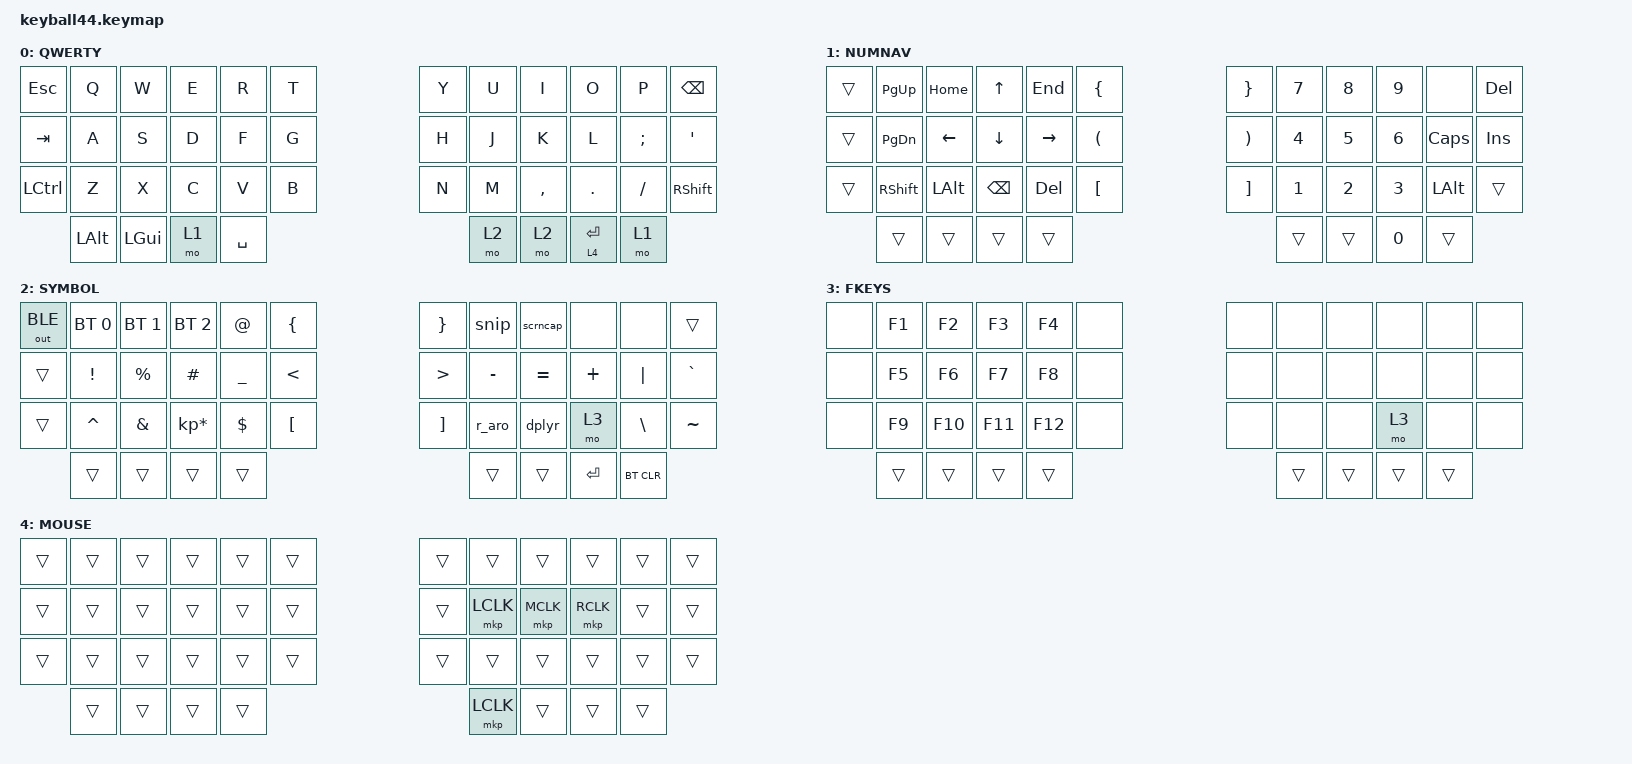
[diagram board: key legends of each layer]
#define DEFAULT 0
#define NUMNAV  1
#define SYMBOL  2
#define FKEYS   3
#define MOUSE   4
//#define SCROLL  5
//#define SNIPE   6

#include <behaviors/mouse_keys.dtsi>
#include <behaviors.dtsi>
#include <dt-bindings/zmk/bt.h>
#include <dt-bindings/zmk/keys.h>
#include <dt-bindings/zmk/mouse.h>
#include <dt-bindings/zmk/outputs.h>

/ {
// R assignment arrow  "<-"
    macros {
        r_aro: r_aro {
            label = "ZM_r_aro";
            compatible = "zmk,behavior-macro";
            #binding-cells = <0>;
            bindings 
                = <&macro_tap &kp LT &kp KP_MINUS> 
                ; 
        };
    };
};

/ {
// R dplyr pipe  "%>%"
    macros {
        dplyr: dplyr {
            label = "ZM_dplyr";
            compatible = "zmk,behavior-macro";
            #binding-cells = <0>;
            bindings 
                = <&macro_tap &kp PRCNT>
                , <&macro_tap &kp GT>
                , <&macro_tap &kp PRCNT> 
                ; 
        };
    };
};

/ {
// Mac snipping tool 
    macros {
        snip: snip {
            label = "ZM_snip";
            compatible = "zmk,behavior-macro";
            #binding-cells = <0>;
            bindings 
                = <&macro_press &kp LGUI &kp LCTRL &kp LSHIFT>
                , <&macro_tap &kp N4>
                , <&macro_release &kp LGUI &kp LCTRL &kp LSHIFT>
                ; 
        };
    };
};

/ {
// Mac whole screencap toolbar
    macros {
        scrncap: scrncap {
            label = "ZM_scrncap";
            compatible = "zmk,behavior-macro";
            #binding-cells = <0>;
            bindings 
                = <&macro_press &kp LGUI &kp LSHIFT>
                , <&macro_tap &kp N5>
                , <&macro_release &kp LGUI &kp LSHIFT>
                ; 
        };
    };
};

// safety guard for combo that clears bluetooth? [WIP]

&lt {
    tapping-term-ms = <180>;
    flavor = "balanced";
    quick-tap-ms = <120>;
};

&mt {
    tapping-term-ms = <200>;
    flavor = "tap-preferred";
    quick-tap-ms = <150>;
};

//&caps_word { continue-list = <UNDERSCORE MINUS>; };

/ {
    // custom shift using mod-morph 

    //behaviors {
    //    cmqus: comma_question {
    //        compatible = "zmk,behavior-mod-morph";
    //        label = "COMMA_QUESTION";
    //        #binding-cells = <0>;
    //        bindings = <&kp COMMA>, <&kp QUESTION>;

    //        mods = <(MOD_LSFT|MOD_RSFT)>;
    //    };

    //    dtsmi: dot_semi {
    //        compatible = "zmk,behavior-mod-morph";
    //        label = "DOT_SEMI";
    //        #binding-cells = <0>;
    //        bindings = <&kp DOT>, <&kp SEMI>;

    //        mods = <(MOD_LSFT|MOD_RSFT)>;
    //    };
    //};

    keymap {
        compatible = "zmk,keymap";

        default_layer {
                // --------------------------------------------------                         --------------------------------------------------
                // |   ESC  |   Q   |   W   |   E   |   R   |   T   |                         |   Y   |   U   |   I   |   O   |   P   |  BKSP  |
                // |   TAB  |   A   |   S   |   D   |   F   |   G   |                         |   H   |   J   |   K   |   L   |   ;   |   '    |
                // |  CTRL  |   Z   |   X   |   C   |   V   |   B   |                         |   N   |   M   |   ,   |   .   |   /   |  SHFT  |
                //   ------------|  ALT  |  GUI  |-------|Lsym|  SPC  |Lnum|       | Lsym | Lmo ENT|--------((((o))))[]|Lnum/%>%|

            label = "QWERTY";
            bindings = <
&kp ESCAPE      &kp Q     &kp W         &kp E        &kp R       &kp T                             &kp Y            &kp U  &kp I      &kp O    &kp P      &kp BACKSPACE
&kp TAB         &kp A     &kp S         &kp D        &kp F       &kp G                             &kp H            &kp J  &kp K      &kp L    &kp SEMI   &kp SQT
&kp LCTRL       &kp Z     &kp X         &kp C        &kp V       &kp B                             &kp N            &kp M  &kp COMMA  &kp DOT  &kp SLASH  &kp RIGHT_SHIFT
                &kp LEFT_ALT      &kp LGUI         &mo 1   &kp SPACE    &mo 2                    &mo 2     &lt 4 ENTER                         &mo 1
            >;                             // ^[NUMNAV]            ^[SYM]                     ^[SYM]                                         ^[NUMNAV]
        };

        number_layer {
            label = "NUMNAV";

        // --------------------------------------------------                         ------------------------------------------------
        // |   ESC  | PGUP  | HOME  |  UP   |  END  |   {   |                         |   }   |   7   |   8   |   9   |       | DEL  |
        // |   TAB  | PGDN  | LFT   |  DWN  |  RGT  |   (   |                         |   )   |   4   |   5   |   6   |  CAPS | INS  |
        // |  CTRL  | SHIFT | ALT   |  Bksp |  DEL  |   [   |                         |   ]   |   1   |   2   |   3   |  ALT  | SHFT |
                //   ------------| ALT |  GUI  |-------|Lsym|  SPC  |Lnum|   | Lsym  |  0  |--------((((o))))[]|Lnum/%>%|

            bindings = <
&trans   &kp PG_UP    &kp HOME   &kp UP     &kp END     &kp LBRC                 &kp RBRC &kp N7  &kp N8   &kp N9  &none     &kp DEL
&trans   &kp PG_DN    &kp LEFT   &kp DOWN   &kp RIGHT   &kp LPAR                 &kp RPAR &kp N4  &kp N5   &kp N6  &kp CAPS  &kp INS 
&trans   &kp RIGHT_SHIFT        &kp LEFT_ALT   &kp BSPC   &kp DEL     &kp LBKT                 &kp RBKT &kp N1  &kp N2   &kp N3  &kp LALT  &trans 
            &trans   &trans            &trans  &trans   &trans      &trans  &kp N0                        &trans
            >;
        };

        symbol_layer {
            label = "SYMBOL";

            // --------------------------------------------------                         ------------------------------------------------
            // | SET_BLE|  BT0  |  BT1  |  BT2  |   @   |   {   |                         |   }   | snip  |scrncap|       |       |  BKSP |
            // |   TAB  |   !   |   %   |   #   |   _   |   <   |                         |   >   |   -   |   =   |   +   |  "|"  |   `   |
            // |  CTRL  |   ^   |   &   |   *   |   $   |   [   |                         |   ]   |   <-  |  %>%  | FKEYS |   \   |   ~   |
                //   ------------|  ALT  |  GUI  |---|Lsym|  SPC  |Lnum|   | Lsym |  ENT  |--------((((o))))[]| BTCLR |

            bindings = <
&out OUT_BLE  &bt BT_SEL 0 &bt BT_SEL 1  &bt BT_SEL 2     &kp AT     &kp LBRC               &kp RBRC       &snip         &scrncap   &none      &none         &trans
&trans        &kp EXCL     &kp PRCNT     &kp HASH         &kp UNDER  &kp LT                 &kp GT         &kp MINUS     &kp EQUAL  &kp PLUS   &kp PIPE      &kp GRAVE
&trans        &kp CARET    &kp AMPS      &kp KP_MULTIPLY  &kp DLLR   &kp LBKT               &kp RBKT       &r_aro        &dplyr     &mo 3      &kp BSLH      &kp TILDE
                           &trans   &trans              &trans  &trans   &trans        &trans  &kp ENTER                                          &bt BT_CLR
            >;
        };

        function_layer {
            label = "FKEYS";
            bindings = <
&none   &kp F1  &kp F2   &kp F3   &kp F4   &none              &none  &none  &none  &none  &none  &none
&none   &kp F5  &kp F6   &kp F7   &kp F8   &none              &none  &none  &none  &none  &none  &none
&none   &kp F9  &kp F10  &kp F11  &kp F12  &none              &none  &none  &none  &mo 3  &none  &none
&trans  &trans  &trans   &trans   &trans              &trans &trans                         &trans
            >;
        };

        mouse_layer {
            label = "MOUSE";
            bindings = <
&trans  &trans  &trans  &trans  &trans  &trans              &trans  &trans      &trans      &trans     &trans      &trans
&trans  &trans  &trans  &trans  &trans  &trans              &trans  &mkp LCLK   &mkp MCLK   &mkp RCLK  &trans      &trans
&trans  &trans  &trans  &trans  &trans  &trans              &trans  &trans      &trans      &trans     &trans      &trans
&trans  &trans  &trans  &trans  &mkp LCLK              &trans  &trans                                  &trans
            >;
        };

//        scroll_layer {
//            label = "SCROLL";
//            bindings = <
//&trans  &trans  &trans  &trans  &trans  &trans              &trans  &trans  &trans  &trans  &trans  &trans
//&trans  &trans  &trans  &trans  &trans  &trans              &trans  &trans  &trans  &trans  &trans  &trans
//&trans  &trans  &trans  &trans  &trans  &trans              &trans  &trans  &trans  &trans  &trans  &trans
//&trans  &trans  &trans  &trans  &trans              &trans  &trans                                  &trans
//            >;
//        };

//        snipe_layer {
//            label = "SNIPE";
//            bindings = <
//&trans  &trans  &trans  &trans  &trans  &trans              &trans  &trans  &trans  &trans  &trans  &trans
//&trans  &trans  &trans  &trans  &trans  &trans              &trans  &trans  &trans  &trans  &trans  &trans
//&trans  &trans  &trans  &trans  &trans  &trans              &trans  &trans  &trans  &trans  &trans  &trans
//&trans  &trans  &trans  &trans  &trans              &trans  &trans                                  &trans
//            >;
//        };
    };
};
